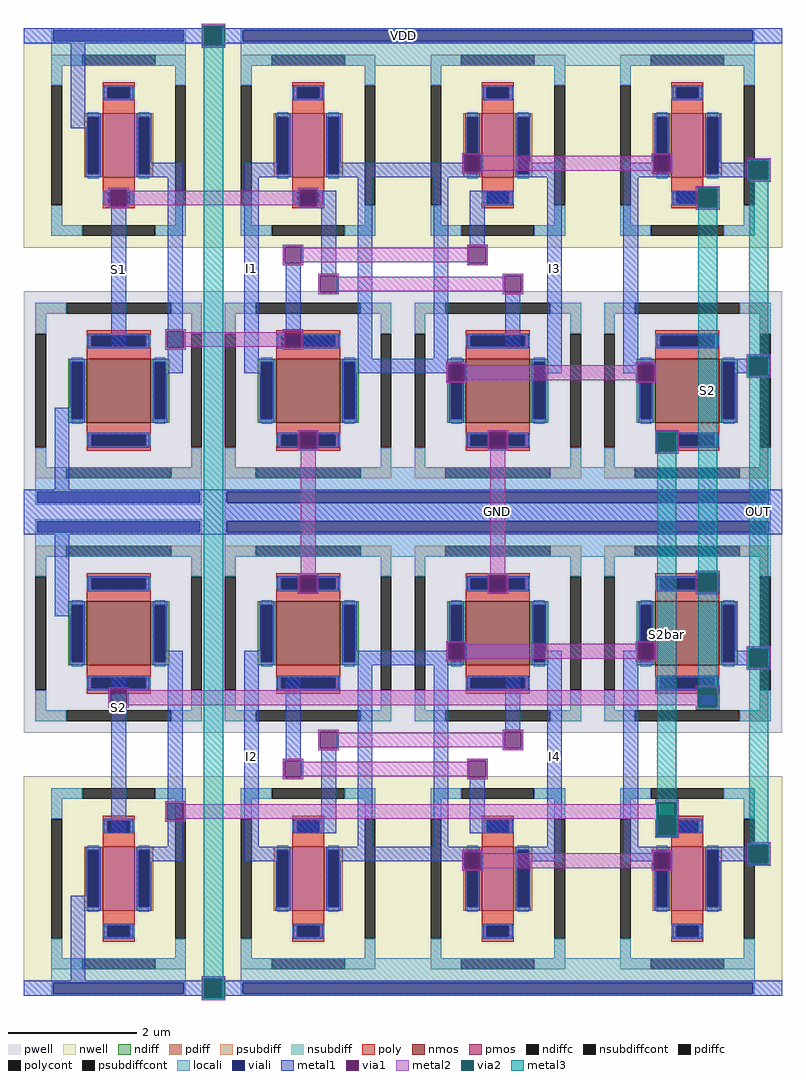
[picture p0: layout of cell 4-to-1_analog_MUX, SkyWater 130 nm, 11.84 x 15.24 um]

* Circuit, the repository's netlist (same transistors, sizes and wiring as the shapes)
** sch_path: /foss/designs/mixedsignal/xschem/4-to-1_analog_MUX.sch
.subckt 4-to-1_analog_MUX S1 S2 VDD GND I1 I2 OUT I3 I4
*.PININFO I1:I I2:I I3:I I4:I OUT:O S1:I S2:I VDD:I GND:I
x1 S1 S1bar GND VDD Inverter
x2 S2 S2bar GND VDD Inverter
XM9 net1 S2 OUT VDD sky130_fd_pr__pfet_01v8 L=0.5 W=1 nf=1 m=1
XM1 I1 S1 net1 VDD sky130_fd_pr__pfet_01v8 L=0.5 W=1 nf=1 m=1
XM2 I3 S1bar net1 VDD sky130_fd_pr__pfet_01v8 L=0.5 W=1 nf=1 m=1
XM5 I2 S1 net2 VDD sky130_fd_pr__pfet_01v8 L=0.5 W=1 nf=1 m=1
XM7 I4 S1bar net2 VDD sky130_fd_pr__pfet_01v8 L=0.5 W=1 nf=1 m=1
XM11 net2 S2bar OUT VDD sky130_fd_pr__pfet_01v8 L=0.5 W=1 nf=1 m=1
XM3 I1 S1bar net1 GND sky130_fd_pr__nfet_01v8 L=1 W=1 nf=1 m=1
XM4 I3 S1 net1 GND sky130_fd_pr__nfet_01v8 L=1 W=1 nf=1 m=1
XM10 net1 S2bar OUT GND sky130_fd_pr__nfet_01v8 L=1 W=1 nf=1 m=1
XM6 I2 S1bar net2 GND sky130_fd_pr__nfet_01v8 L=1 W=1 nf=1 m=1
XM8 I4 S1 net2 GND sky130_fd_pr__nfet_01v8 L=1 W=1 nf=1 m=1
XM12 net2 S2 OUT GND sky130_fd_pr__nfet_01v8 L=1 W=1 nf=1 m=1
.ends

* expanding   symbol:  Inverter.sym # of pins=4
** sym_path: /foss/designs/mixedsignal/xschem/Inverter.sym
** sch_path: /foss/designs/mixedsignal/xschem/Inverter.sch
.subckt Inverter Vin Vout GND VDD
*.PININFO Vout:O Vin:I VDD:I GND:I
XM1 Vout Vin VDD VDD sky130_fd_pr__pfet_01v8 L=0.5 W=1 nf=1 m=1
XM2 Vout Vin GND GND sky130_fd_pr__nfet_01v8 L=1 W=1 nf=1 m=1
.ends

.end

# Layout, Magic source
magic
tech sky130A
magscale 1 2
<< nwell >>
rect -712 -863 1656 -225
rect -712 -3153 1656 -2515
<< locali >>
rect -34 -185 1570 -179
rect -34 -219 -28 -185
rect 1564 -219 1570 -185
rect -34 -295 1570 -219
rect -84 -1626 1620 -1550
rect -84 -1660 -78 -1626
rect 1614 -1660 1620 -1626
rect -84 -1718 1620 -1660
rect -84 -1752 -78 -1718
rect 1614 -1752 1620 -1718
rect -84 -1828 1620 -1752
rect -34 -3159 1570 -3083
rect -34 -3193 -28 -3159
rect 1564 -3193 1570 -3159
rect -34 -3199 1570 -3193
<< viali >>
rect -28 -219 1564 -185
rect -78 -1660 1614 -1626
rect -78 -1752 1614 -1718
rect -28 -3193 1564 -3159
<< metal1 >>
rect -152 -176 -88 -170
rect -152 -179 -146 -176
rect -712 -225 -146 -179
rect -152 -228 -146 -225
rect -94 -179 -88 -176
rect -94 -185 1656 -179
rect -94 -219 -28 -185
rect 1564 -219 1656 -185
rect -94 -225 1656 -219
rect -94 -228 -88 -225
rect -152 -234 -88 -228
rect 657 -574 721 -568
rect 657 -598 663 -574
rect -24 -644 74 -598
rect 278 -626 663 -598
rect 715 -626 721 -574
rect 1249 -574 1313 -568
rect 1249 -598 1255 -574
rect 278 -632 721 -626
rect 278 -644 666 -632
rect 870 -644 968 -598
rect -448 -682 -384 -676
rect -448 -734 -442 -682
rect -390 -734 -384 -682
rect -448 -740 -384 -734
rect -439 -1178 -393 -740
rect -271 -1124 -207 -1118
rect -271 -1176 -265 -1124
rect -213 -1176 -207 -1124
rect -271 -1182 -207 -1176
rect -24 -1210 22 -644
rect 144 -682 208 -676
rect 144 -685 150 -682
rect 130 -731 150 -685
rect 144 -734 150 -731
rect 202 -685 208 -682
rect 202 -734 263 -685
rect 144 -740 263 -734
rect 97 -860 161 -854
rect 97 -912 103 -860
rect 155 -912 161 -860
rect 97 -918 161 -912
rect 106 -1118 152 -918
rect 217 -945 263 -740
rect 208 -951 272 -945
rect 208 -1003 214 -951
rect 266 -1003 272 -951
rect 208 -1009 272 -1003
rect 97 -1124 161 -1118
rect 97 -1132 103 -1124
rect 80 -1176 103 -1132
rect 155 -1132 161 -1124
rect 155 -1176 272 -1132
rect 80 -1178 272 -1176
rect 97 -1182 161 -1178
rect 330 -1210 376 -644
rect 568 -1210 614 -644
rect 681 -731 814 -685
rect 681 -854 727 -731
rect 672 -860 736 -854
rect 672 -912 678 -860
rect 730 -912 736 -860
rect 672 -918 736 -912
rect 783 -951 847 -945
rect 783 -1003 789 -951
rect 841 -1003 847 -951
rect 783 -1009 847 -1003
rect 792 -1178 838 -1009
rect 922 -1210 968 -644
rect -24 -1256 24 -1210
rect 328 -1222 616 -1210
rect 328 -1228 671 -1222
rect 328 -1256 613 -1228
rect 607 -1280 613 -1256
rect 665 -1280 671 -1228
rect 920 -1256 968 -1210
rect 1160 -626 1255 -598
rect 1307 -626 1313 -574
rect 1551 -595 1615 -589
rect 1551 -598 1557 -595
rect 1160 -632 1313 -626
rect 1160 -644 1258 -632
rect 1462 -644 1557 -598
rect 1160 -1210 1206 -644
rect 1551 -647 1557 -644
rect 1609 -647 1615 -595
rect 1551 -653 1615 -647
rect 1392 -682 1456 -676
rect 1392 -685 1398 -682
rect 1314 -731 1398 -685
rect 1392 -734 1398 -731
rect 1450 -734 1456 -682
rect 1392 -740 1456 -734
rect 1551 -1207 1615 -1201
rect 1551 -1210 1557 -1207
rect 1160 -1222 1208 -1210
rect 1160 -1228 1263 -1222
rect 1160 -1256 1205 -1228
rect 607 -1286 671 -1280
rect 1199 -1280 1205 -1256
rect 1257 -1280 1263 -1228
rect 1512 -1256 1557 -1210
rect 1551 -1259 1557 -1256
rect 1609 -1259 1615 -1207
rect 1551 -1265 1615 -1259
rect 1199 -1286 1263 -1280
rect 144 -1439 208 -1433
rect 144 -1491 150 -1439
rect 202 -1491 208 -1439
rect 144 -1497 208 -1491
rect 736 -1439 800 -1433
rect 736 -1491 742 -1439
rect 794 -1491 800 -1439
rect 736 -1497 800 -1491
rect 1264 -1444 1328 -1438
rect 1264 -1496 1270 -1444
rect 1322 -1496 1328 -1444
rect 1264 -1502 1328 -1496
rect -712 -1626 1656 -1620
rect -712 -1660 -78 -1626
rect 1614 -1660 1656 -1626
rect -712 -1718 1656 -1660
rect -712 -1752 -78 -1718
rect 1614 -1752 1656 -1718
rect -712 -1758 1656 -1752
rect 144 -1887 208 -1881
rect 144 -1939 150 -1887
rect 202 -1939 208 -1887
rect 144 -1945 208 -1939
rect 736 -1887 800 -1881
rect 736 -1939 742 -1887
rect 794 -1939 800 -1887
rect 736 -1945 800 -1939
rect 1392 -1883 1456 -1877
rect 1392 -1935 1398 -1883
rect 1450 -1935 1456 -1883
rect 1392 -1941 1456 -1935
rect 607 -2098 671 -2092
rect 607 -2122 613 -2098
rect -24 -2168 24 -2122
rect 328 -2150 613 -2122
rect 665 -2150 671 -2098
rect 1199 -2098 1263 -2092
rect 1199 -2122 1205 -2098
rect 328 -2156 671 -2150
rect 328 -2168 616 -2156
rect 920 -2168 968 -2122
rect -448 -2243 -384 -2237
rect -448 -2295 -442 -2243
rect -390 -2295 -384 -2243
rect -448 -2301 -384 -2295
rect -271 -2598 -207 -2592
rect -271 -2650 -265 -2598
rect -213 -2650 -207 -2598
rect -271 -2656 -207 -2650
rect -24 -2734 22 -2168
rect 106 -2460 152 -2200
rect 208 -2375 272 -2369
rect 208 -2427 214 -2375
rect 266 -2427 272 -2375
rect 208 -2433 272 -2427
rect 97 -2466 161 -2460
rect 97 -2518 103 -2466
rect 155 -2518 161 -2466
rect 97 -2524 161 -2518
rect 217 -2647 263 -2433
rect 130 -2693 263 -2647
rect 330 -2734 376 -2168
rect 568 -2734 614 -2168
rect 792 -2369 838 -2200
rect 783 -2375 847 -2369
rect 783 -2427 789 -2375
rect 841 -2427 847 -2375
rect 783 -2433 847 -2427
rect 672 -2466 736 -2460
rect 672 -2518 678 -2466
rect 730 -2518 736 -2466
rect 672 -2524 736 -2518
rect 681 -2647 727 -2524
rect 681 -2693 814 -2647
rect 922 -2734 968 -2168
rect -24 -2780 74 -2734
rect 278 -2746 666 -2734
rect 278 -2752 721 -2746
rect 278 -2780 663 -2752
rect 657 -2804 663 -2780
rect 715 -2804 721 -2752
rect 870 -2780 968 -2734
rect 1160 -2150 1205 -2122
rect 1257 -2150 1263 -2098
rect 1551 -2119 1615 -2113
rect 1551 -2122 1557 -2119
rect 1160 -2156 1263 -2150
rect 1160 -2168 1208 -2156
rect 1512 -2168 1557 -2122
rect 1160 -2734 1206 -2168
rect 1551 -2171 1557 -2168
rect 1609 -2171 1615 -2119
rect 1551 -2177 1615 -2171
rect 1264 -2644 1328 -2638
rect 1264 -2696 1270 -2644
rect 1322 -2647 1328 -2644
rect 1322 -2693 1406 -2647
rect 1322 -2696 1328 -2693
rect 1264 -2702 1328 -2696
rect 1551 -2731 1615 -2725
rect 1551 -2734 1557 -2731
rect 1160 -2746 1258 -2734
rect 1160 -2752 1313 -2746
rect 1160 -2780 1255 -2752
rect 657 -2810 721 -2804
rect 1249 -2804 1255 -2780
rect 1307 -2804 1313 -2752
rect 1462 -2780 1557 -2734
rect 1551 -2783 1557 -2780
rect 1609 -2783 1615 -2731
rect 1551 -2789 1615 -2783
rect 1249 -2810 1313 -2804
rect -152 -3150 -88 -3144
rect -152 -3202 -146 -3150
rect -94 -3153 -88 -3150
rect -94 -3159 1656 -3153
rect -94 -3193 -28 -3159
rect 1564 -3193 1656 -3159
rect -94 -3199 1656 -3193
rect -94 -3202 -88 -3199
rect -152 -3208 -88 -3202
<< via1 >>
rect -146 -228 -94 -176
rect 663 -626 715 -574
rect -442 -734 -390 -682
rect -265 -1176 -213 -1124
rect 150 -734 202 -682
rect 103 -912 155 -860
rect 214 -1003 266 -951
rect 103 -1176 155 -1124
rect 678 -912 730 -860
rect 789 -1003 841 -951
rect 613 -1280 665 -1228
rect 1255 -626 1307 -574
rect 1557 -647 1609 -595
rect 1398 -734 1450 -682
rect 1205 -1280 1257 -1228
rect 1557 -1259 1609 -1207
rect 150 -1491 202 -1439
rect 742 -1491 794 -1439
rect 1270 -1496 1322 -1444
rect 150 -1939 202 -1887
rect 742 -1939 794 -1887
rect 1398 -1935 1450 -1883
rect 613 -2150 665 -2098
rect -442 -2295 -390 -2243
rect -265 -2650 -213 -2598
rect 214 -2427 266 -2375
rect 103 -2518 155 -2466
rect 789 -2427 841 -2375
rect 678 -2518 730 -2466
rect 663 -2804 715 -2752
rect 1205 -2150 1257 -2098
rect 1557 -2171 1609 -2119
rect 1270 -2696 1322 -2644
rect 1255 -2804 1307 -2752
rect 1557 -2783 1609 -2731
rect -146 -3202 -94 -3150
<< metal2 >>
rect -157 -174 -83 -165
rect -157 -230 -148 -174
rect -92 -230 -83 -174
rect -157 -239 -83 -230
rect 657 -574 721 -568
rect 657 -626 663 -574
rect 715 -577 721 -574
rect 1249 -574 1313 -568
rect 1249 -577 1255 -574
rect 715 -623 1255 -577
rect 715 -626 721 -623
rect 657 -632 721 -626
rect 1249 -626 1255 -623
rect 1307 -626 1313 -574
rect 1249 -632 1313 -626
rect 1546 -593 1620 -584
rect 1546 -649 1555 -593
rect 1611 -649 1620 -593
rect 1546 -658 1620 -649
rect -448 -682 -384 -676
rect -448 -685 -442 -682
rect -462 -731 -442 -685
rect -448 -734 -442 -731
rect -390 -685 -384 -682
rect 144 -682 208 -676
rect 144 -685 150 -682
rect -390 -731 150 -685
rect -390 -734 -384 -731
rect -448 -740 -384 -734
rect 144 -734 150 -731
rect 202 -685 208 -682
rect 1387 -680 1461 -671
rect 202 -731 222 -685
rect 202 -734 208 -731
rect 144 -740 208 -734
rect 1387 -736 1396 -680
rect 1452 -736 1461 -680
rect 1387 -745 1461 -736
rect 97 -860 161 -854
rect 97 -912 103 -860
rect 155 -863 161 -860
rect 672 -860 736 -854
rect 672 -863 678 -860
rect 155 -909 678 -863
rect 155 -912 161 -909
rect 97 -918 161 -912
rect 672 -912 678 -909
rect 730 -912 736 -860
rect 672 -918 736 -912
rect 208 -951 272 -945
rect 208 -1003 214 -951
rect 266 -954 272 -951
rect 783 -951 847 -945
rect 783 -954 789 -951
rect 266 -1000 789 -954
rect 266 -1003 272 -1000
rect 208 -1009 272 -1003
rect 783 -1003 789 -1000
rect 841 -1003 847 -951
rect 783 -1009 847 -1003
rect -271 -1124 -207 -1118
rect -271 -1176 -265 -1124
rect -213 -1127 -207 -1124
rect 97 -1124 161 -1118
rect 97 -1127 103 -1124
rect -213 -1173 103 -1127
rect -213 -1176 -207 -1173
rect -271 -1182 -207 -1176
rect 97 -1176 103 -1173
rect 155 -1176 161 -1124
rect 97 -1182 161 -1176
rect 1546 -1205 1620 -1196
rect 607 -1228 671 -1222
rect 607 -1280 613 -1228
rect 665 -1231 671 -1228
rect 1199 -1228 1263 -1222
rect 1199 -1231 1205 -1228
rect 665 -1277 1205 -1231
rect 665 -1280 671 -1277
rect 607 -1286 671 -1280
rect 1199 -1280 1205 -1277
rect 1257 -1280 1263 -1228
rect 1546 -1261 1555 -1205
rect 1611 -1261 1620 -1205
rect 1546 -1270 1620 -1261
rect 1199 -1286 1263 -1280
rect 144 -1439 208 -1433
rect 144 -1491 150 -1439
rect 202 -1491 208 -1439
rect 144 -1497 208 -1491
rect 736 -1439 800 -1433
rect 736 -1491 742 -1439
rect 794 -1491 800 -1439
rect 736 -1497 800 -1491
rect 1259 -1442 1333 -1433
rect 153 -1881 199 -1497
rect 745 -1881 791 -1497
rect 1259 -1498 1268 -1442
rect 1324 -1498 1333 -1442
rect 1259 -1507 1333 -1498
rect 1387 -1881 1461 -1872
rect 144 -1887 208 -1881
rect 144 -1939 150 -1887
rect 202 -1939 208 -1887
rect 144 -1945 208 -1939
rect 736 -1887 800 -1881
rect 736 -1939 742 -1887
rect 794 -1939 800 -1887
rect 736 -1945 800 -1939
rect 1387 -1937 1396 -1881
rect 1452 -1937 1461 -1881
rect 1387 -1946 1461 -1937
rect 607 -2098 671 -2092
rect 607 -2150 613 -2098
rect 665 -2101 671 -2098
rect 1199 -2098 1263 -2092
rect 1199 -2101 1205 -2098
rect 665 -2147 1205 -2101
rect 665 -2150 671 -2147
rect 607 -2156 671 -2150
rect 1199 -2150 1205 -2147
rect 1257 -2150 1263 -2098
rect 1199 -2156 1263 -2150
rect 1546 -2117 1620 -2108
rect 1546 -2173 1555 -2117
rect 1611 -2173 1620 -2117
rect 1546 -2182 1620 -2173
rect -448 -2243 -384 -2237
rect -448 -2295 -442 -2243
rect -390 -2246 -384 -2243
rect 1387 -2241 1461 -2232
rect 1387 -2246 1396 -2241
rect -390 -2292 1396 -2246
rect -390 -2295 -384 -2292
rect -448 -2301 -384 -2295
rect 1387 -2297 1396 -2292
rect 1452 -2297 1461 -2241
rect 1387 -2306 1461 -2297
rect 208 -2375 272 -2369
rect 208 -2427 214 -2375
rect 266 -2378 272 -2375
rect 783 -2375 847 -2369
rect 783 -2378 789 -2375
rect 266 -2424 789 -2378
rect 266 -2427 272 -2424
rect 208 -2433 272 -2427
rect 783 -2427 789 -2424
rect 841 -2427 847 -2375
rect 783 -2433 847 -2427
rect 97 -2466 161 -2460
rect 97 -2518 103 -2466
rect 155 -2469 161 -2466
rect 672 -2466 736 -2460
rect 672 -2469 678 -2466
rect 155 -2515 678 -2469
rect 155 -2518 161 -2515
rect 97 -2524 161 -2518
rect 672 -2518 678 -2515
rect 730 -2518 736 -2466
rect 672 -2524 736 -2518
rect -271 -2598 -207 -2592
rect -271 -2650 -265 -2598
rect -213 -2601 -207 -2598
rect 1259 -2596 1333 -2587
rect 1259 -2601 1268 -2596
rect -213 -2647 1268 -2601
rect -213 -2650 -207 -2647
rect -271 -2656 -207 -2650
rect 1259 -2698 1268 -2647
rect 1324 -2698 1333 -2596
rect 1259 -2707 1333 -2698
rect 1546 -2729 1620 -2720
rect 657 -2752 721 -2746
rect 657 -2804 663 -2752
rect 715 -2755 721 -2752
rect 1249 -2752 1313 -2746
rect 1249 -2755 1255 -2752
rect 715 -2801 1255 -2755
rect 715 -2804 721 -2801
rect 657 -2810 721 -2804
rect 1249 -2804 1255 -2801
rect 1307 -2804 1313 -2752
rect 1546 -2785 1555 -2729
rect 1611 -2785 1620 -2729
rect 1546 -2794 1620 -2785
rect 1249 -2810 1313 -2804
rect -157 -3148 -83 -3139
rect -157 -3204 -148 -3148
rect -92 -3204 -83 -3148
rect -157 -3213 -83 -3204
<< via2 >>
rect -148 -176 -92 -174
rect -148 -228 -146 -176
rect -146 -228 -94 -176
rect -94 -228 -92 -176
rect -148 -230 -92 -228
rect 1555 -595 1611 -593
rect 1555 -647 1557 -595
rect 1557 -647 1609 -595
rect 1609 -647 1611 -595
rect 1555 -649 1611 -647
rect 1396 -682 1452 -680
rect 1396 -734 1398 -682
rect 1398 -734 1450 -682
rect 1450 -734 1452 -682
rect 1396 -736 1452 -734
rect 1555 -1207 1611 -1205
rect 1555 -1259 1557 -1207
rect 1557 -1259 1609 -1207
rect 1609 -1259 1611 -1207
rect 1555 -1261 1611 -1259
rect 1268 -1444 1324 -1442
rect 1268 -1496 1270 -1444
rect 1270 -1496 1322 -1444
rect 1322 -1496 1324 -1444
rect 1268 -1498 1324 -1496
rect 1396 -1883 1452 -1881
rect 1396 -1935 1398 -1883
rect 1398 -1935 1450 -1883
rect 1450 -1935 1452 -1883
rect 1396 -1937 1452 -1935
rect 1555 -2119 1611 -2117
rect 1555 -2171 1557 -2119
rect 1557 -2171 1609 -2119
rect 1609 -2171 1611 -2119
rect 1555 -2173 1611 -2171
rect 1396 -2297 1452 -2241
rect 1268 -2644 1324 -2596
rect 1268 -2696 1270 -2644
rect 1270 -2696 1322 -2644
rect 1322 -2696 1324 -2644
rect 1268 -2698 1324 -2696
rect 1555 -2731 1611 -2729
rect 1555 -2783 1557 -2731
rect 1557 -2783 1609 -2731
rect 1609 -2783 1611 -2731
rect 1555 -2785 1611 -2783
rect -148 -3150 -92 -3148
rect -148 -3202 -146 -3150
rect -146 -3202 -94 -3150
rect -94 -3202 -92 -3150
rect -148 -3204 -92 -3202
<< metal3 >>
rect -153 -174 -87 -169
rect -153 -230 -148 -174
rect -92 -230 -87 -174
rect -153 -235 -87 -230
rect -150 -3143 -90 -235
rect 1550 -593 1616 -588
rect 1550 -649 1555 -593
rect 1611 -649 1616 -593
rect 1550 -654 1616 -649
rect 1391 -680 1457 -675
rect 1391 -736 1396 -680
rect 1452 -736 1457 -680
rect 1391 -741 1457 -736
rect 1263 -1442 1329 -1437
rect 1263 -1498 1268 -1442
rect 1324 -1498 1329 -1442
rect 1263 -1503 1329 -1498
rect 1266 -2591 1326 -1503
rect 1394 -1876 1454 -741
rect 1553 -1200 1613 -654
rect 1550 -1205 1616 -1200
rect 1550 -1261 1555 -1205
rect 1611 -1261 1616 -1205
rect 1550 -1266 1616 -1261
rect 1391 -1881 1457 -1876
rect 1391 -1937 1396 -1881
rect 1452 -1937 1457 -1881
rect 1391 -1942 1457 -1937
rect 1394 -2236 1454 -1942
rect 1553 -2112 1613 -1266
rect 1550 -2117 1616 -2112
rect 1550 -2173 1555 -2117
rect 1611 -2173 1616 -2117
rect 1550 -2178 1616 -2173
rect 1391 -2241 1457 -2236
rect 1391 -2297 1396 -2241
rect 1452 -2297 1457 -2241
rect 1391 -2302 1457 -2297
rect 1263 -2596 1329 -2591
rect 1263 -2698 1268 -2596
rect 1324 -2698 1329 -2596
rect 1263 -2703 1329 -2698
rect 1553 -2724 1613 -2178
rect 1550 -2729 1616 -2724
rect 1550 -2785 1555 -2729
rect 1611 -2785 1616 -2729
rect 1550 -2790 1616 -2785
rect -153 -3148 -87 -3143
rect -153 -3204 -148 -3148
rect -92 -3204 -87 -3148
rect -153 -3209 -87 -3204
use Inverter  Inverter_0
transform 1 0 -2007 0 -1 -2731
box 1295 -1019 1887 468
use Inverter  Inverter_1
transform 1 0 -2007 0 1 -647
box 1295 -1019 1887 468
use sky130_fd_pr__nfet_01v8_JZTGL9  sky130_fd_pr__nfet_01v8_JZTGL9_0
transform 1 0 176 0 1 -1310
box -296 -310 296 310
use sky130_fd_pr__nfet_01v8_JZTGL9  sky130_fd_pr__nfet_01v8_JZTGL9_1
transform 1 0 768 0 -1 -2068
box -296 -310 296 310
use sky130_fd_pr__nfet_01v8_JZTGL9  sky130_fd_pr__nfet_01v8_JZTGL9_2
transform 1 0 176 0 -1 -2068
box -296 -310 296 310
use sky130_fd_pr__nfet_01v8_JZTGL9  sky130_fd_pr__nfet_01v8_JZTGL9_3
transform 1 0 1360 0 1 -1310
box -296 -310 296 310
use sky130_fd_pr__nfet_01v8_JZTGL9  sky130_fd_pr__nfet_01v8_JZTGL9_4
transform 1 0 768 0 1 -1310
box -296 -310 296 310
use sky130_fd_pr__nfet_01v8_JZTGL9  sky130_fd_pr__nfet_01v8_JZTGL9_5
transform 1 0 1360 0 -1 -2068
box -296 -310 296 310
use sky130_fd_pr__pfet_01v8_U6BDKB  sky130_fd_pr__pfet_01v8_U6BDKB_0
transform 1 0 1360 0 1 -544
box -246 -319 246 319
use sky130_fd_pr__pfet_01v8_U6BDKB  sky130_fd_pr__pfet_01v8_U6BDKB_1
transform 1 0 768 0 -1 -2834
box -246 -319 246 319
use sky130_fd_pr__pfet_01v8_U6BDKB  sky130_fd_pr__pfet_01v8_U6BDKB_2
transform 1 0 176 0 -1 -2834
box -246 -319 246 319
use sky130_fd_pr__pfet_01v8_U6BDKB  sky130_fd_pr__pfet_01v8_U6BDKB_3
transform 1 0 176 0 1 -544
box -246 -319 246 319
use sky130_fd_pr__pfet_01v8_U6BDKB  sky130_fd_pr__pfet_01v8_U6BDKB_4
transform 1 0 768 0 1 -544
box -246 -319 246 319
use sky130_fd_pr__pfet_01v8_U6BDKB  sky130_fd_pr__pfet_01v8_U6BDKB_5
transform 1 0 1360 0 -1 -2834
box -246 -319 246 319
<< labels >>
flabel metal1 922 -1256 968 -598 0 FreeSans 160 0 0 0 I3
port 3 nsew
flabel metal1 -24 -2780 22 -2122 0 FreeSans 160 0 0 0 I2
port 2 nsew
flabel metal1 922 -2780 968 -2122 0 FreeSans 160 0 0 0 I4
port 4 nsew
flabel metal3 1266 -2642 1326 -1498 0 FreeSans 160 90 0 0 S2bar
flabel metal1 -120 -1758 1656 -1620 0 FreeSans 320 0 0 0 GND
port 0 nsew
flabel metal1 -439 -1178 -393 -685 0 FreeSans 160 0 0 0 S1
port 5 nsew
flabel metal1 -439 -2301 -393 -2295 0 FreeSans 160 0 0 0 S2
port 6 nsew
flabel metal3 1394 -1881 1454 -736 0 FreeSans 160 90 0 0 S2
flabel metal1 -24 -1256 22 -598 0 FreeSans 160 0 0 0 I1
port 1 nsew
flabel metal1 -712 -225 1656 -179 0 FreeSans 160 0 0 0 VDD
port 7 nsew
flabel metal3 1553 -2783 1613 -595 0 FreeSans 160 90 0 0 OUT
port 9 nsew
<< end >>

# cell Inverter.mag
magic
tech sky130A
magscale 1 2
<< locali >>
rect 1381 462 1801 468
rect 1381 428 1387 462
rect 1795 428 1801 462
rect 1381 352 1801 428
rect 1331 -979 1851 -903
rect 1331 -1013 1337 -979
rect 1845 -1013 1851 -979
rect 1331 -1019 1851 -1013
<< viali >>
rect 1387 428 1795 462
rect 1337 -1013 1845 -979
<< metal1 >>
rect 1295 462 1887 468
rect 1295 428 1387 462
rect 1795 428 1887 462
rect 1295 422 1887 428
rect 1441 203 1487 422
rect 1441 157 1489 203
rect 1693 3 1791 49
rect 1568 -531 1614 -38
rect 1745 -563 1791 3
rect 1743 -609 1791 -563
rect 1391 -763 1439 -717
rect 1391 -973 1437 -763
rect 1295 -979 1887 -973
rect 1295 -1013 1337 -979
rect 1845 -1013 1887 -979
rect 1295 -1019 1887 -1013
use sky130_fd_pr__nfet_01v8_JZTGL9  sky130_fd_pr__nfet_01v8_JZTGL9_0
transform 1 0 1591 0 1 -663
box -296 -310 296 310
use sky130_fd_pr__pfet_01v8_U6BDKB  sky130_fd_pr__pfet_01v8_U6BDKB_0
transform 1 0 1591 0 1 103
box -246 -319 246 319
<< labels >>
flabel metal1 1568 -531 1614 -38 0 FreeSans 160 0 0 0 Vin
port 2 nsew
flabel metal1 1295 -1019 1887 -973 0 FreeSans 160 0 0 0 GND
port 4 nsew
flabel metal1 1745 -609 1791 49 0 FreeSans 160 0 0 0 Vout
port 3 nsew
flabel metal1 1295 422 1887 468 0 FreeSans 160 0 0 0 VDD
port 5 nsew
<< end >>

# cell sky130_fd_pr__nfet_01v8_JZTGL9: kit device sky130_fd_pr__nfet_01v8, w 1 l 1 m 1 nf 1 diffcov 100 polycov 100 guard 1 glc 1 grc 1 gtc 1 gbc 1 tbcov 100 rlcov 100 topc 1 botc 1 poverlap 0 doverlap 1 lmin 0.15 wmin 0.42 class mosfet compatible {sky130_fd_pr__nfet_01v8 sky130_fd_pr__nfet_01v8_lvt sky130_fd_bs_flash__special_sonosfet_star sky130_fd_pr__nfet_g5v0d10v5 sky130_fd_pr__nfet_05v0_nvt sky130_fd_pr__nfet_03v3_nvt} full_metal 1 viasrc 100 viadrn 100 viagate 100 viagb 0 viagr 0 viagl 0 viagt 0

# cell sky130_fd_pr__pfet_01v8_U6BDKB: kit device sky130_fd_pr__pfet_01v8, w 1 l 0.5 m 1 nf 1 diffcov 100 polycov 100 guard 1 glc 1 grc 1 gtc 1 gbc 1 tbcov 100 rlcov 100 topc 1 botc 1 poverlap 0 doverlap 1 lmin 0.15 wmin 0.42 class mosfet compatible {sky130_fd_pr__pfet_01v8 sky130_fd_pr__pfet_01v8_lvt sky130_fd_pr__pfet_01v8_hvt sky130_fd_pr__pfet_g5v0d10v5} full_metal 1 viasrc 100 viadrn 100 viagate 100 viagb 0 viagr 0 viagl 0 viagt 0
